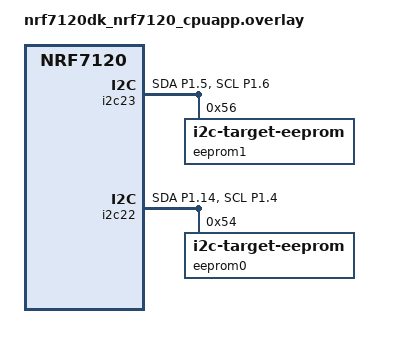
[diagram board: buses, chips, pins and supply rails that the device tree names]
/*
 * Copyright (c) 2026 Nordic Semiconductor ASA
 *
 * SPDX-License-Identifier: Apache-2.0
 */

/*
 * SDA = P1.05 and P1.14
 * SCL = P1.06 and P1.04
 */

&pinctrl {
	i2c23_default: i2c23_default {
		group1 {
			psels = <NRF_PSEL(TWIS_SDA, 1, 5)>,
				<NRF_PSEL(TWIS_SCL, 1, 6)>;
			bias-pull-up;
		};
	};

	i2c23_sleep: i2c23_sleep {
		group1 {
			psels = <NRF_PSEL(TWIS_SDA, 1, 5)>,
				<NRF_PSEL(TWIS_SCL, 1, 6)>;
			low-power-enable;
		};
	};

	i2c22_default: i2c22_default {
		group1 {
			psels = <NRF_PSEL(TWIS_SDA, 1, 14)>,
				<NRF_PSEL(TWIS_SCL, 1, 4)>;
			bias-pull-up;
		};
	};

	i2c22_sleep: i2c22_sleep {
		group1 {
			psels = <NRF_PSEL(TWIS_SDA, 1, 14)>,
				<NRF_PSEL(TWIS_SCL, 1, 4)>;
			low-power-enable;
		};
	};
};

&i2c23 {
	pinctrl-0 = <&i2c23_default>;
	pinctrl-1 = <&i2c23_sleep>;
	pinctrl-names = "default", "sleep";
	zephyr,concat-buf-size = <256>;
	status = "okay";

	eeprom1: eeprom@56 {
		compatible = "zephyr,i2c-target-eeprom";
		reg = <0x56>;
		address-width = <8>;
		size = <256>;
	};
};

&i2c22 {
	compatible = "nordic,nrf-twis";
	pinctrl-0 = <&i2c22_default>;
	pinctrl-1 = <&i2c22_sleep>;
	pinctrl-names = "default", "sleep";
	status = "okay";

	eeprom0: eeprom@54 {
		compatible = "zephyr,i2c-target-eeprom";
		reg = <0x54>;
		address-width = <8>;
		size = <256>;
	};
};
